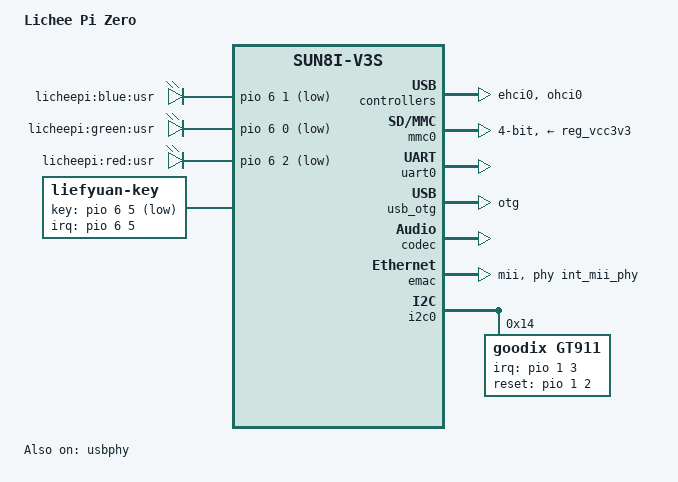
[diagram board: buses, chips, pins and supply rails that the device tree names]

/dts-v1/;
#include "sun8i-v3s.dtsi"
#include "sunxi-common-regulators.dtsi"
/ {
	model = "Lichee Pi Zero";
	compatible = "licheepi,licheepi-zero", "allwinner,sun8i-v3s";

	aliases {
		serial0 = &uart0;
                ethernet0 = &emac;
	};

	chosen {
		stdout-path = "serial0:115200n8";
	};

	leds {
		compatible = "gpio-leds";

		blue_led {
			label = "licheepi:blue:usr";
			gpios = <&pio 6 1 GPIO_ACTIVE_LOW>; /* PG1 */
		};

		green_led {
			label = "licheepi:green:usr";
			gpios = <&pio 6 0 GPIO_ACTIVE_LOW>; /* PG0 */
			default-state = "on";
		};

		red_led {
			label = "licheepi:red:usr";
			gpios = <&pio 6 2 GPIO_ACTIVE_LOW>; /* PG2 */
		};
	};

	key{
                compatible = "liefyuan-key";
                #address-cells = <1>;
                #size-cells = <0>;

		pinctrl-names = "default";
                pinctrl-0 = <&key_pins>; // 表示使用pinctrl_key这个节点的pin信息 
                /*autorepeat; *//* 按下按键自动重复*/

		/*linux,code = <KEY_BACK>; */// 这个表示的是按键值
		key-gpio= <&pio 6 5 GPIO_ACTIVE_LOW>; /* PG5 */
		interrupt-parent = <&pio>; // 父中断控制器
		interrupts = <6 5 IRQ_TYPE_EDGE_BOTH>; // PG5   中断源 上升沿和下降沿
		status = "okay";
        };


	dht11{
	     	pinctrl-1 =<&dht11_pin>;/*dht11的pin管脚属性来自dtsi文件*/
     	    compatible = "dht-11";
	     	pinctrl-names = "default";
     	    status = "okay";
     	    dht11_pin@1{
         		/*配置dht11所属管脚的io口*/
         		gpios = <&pio 6 4 GPIO_ACTIVE_HIGH>;/*管脚是接在PG4上面*/
         		label = "dht_11";
         		linux,default-trigger = "heartbeat";
         		linux,default-trigger-delay-ms = <0>;
     	    };
 	};
};

&ehci0 {
	status = "okay";
};

&mmc0 {
	broken-cd;
	bus-width = <4>;
	vmmc-supply = <&reg_vcc3v3>;
	status = "okay";
};

/*&i2c0 {
	status = "okay";

	ns2009: ns2009@48 {
		compatible = "nsiway,ns2009";
		reg = <0x48>;
	};
};*/

&ohci0 {
	status = "okay";
};

&uart0 {
	pinctrl-0 = <&uart0_pb_pins>;
	pinctrl-names = "default";
	status = "okay";
};

&usb_otg {
	dr_mode = "otg";
	status = "okay";
};

&usbphy {
	usb0_id_det-gpios = <&pio 5 6 GPIO_ACTIVE_HIGH>;
	status = "okay";
};

&codec {
	allwinner,audio-routing =
		"Headphone", "HP",
		"Headphone", "HPCOM",
		"MIC1", "Mic",
		"Mic",  "HBIAS";
	status = "okay";
};

&emac {
	phy-handle = <&int_mii_phy>;
	phy-mode = "mii";
	allwinner,leds-active-low;
	status = "okay";
};
/*
&mmc1 {
	broken-cd;
	bus-width = <4>;
	vmmc-supply = <&reg_vcc3v3>;
	status = "okay";
};
*/
/*
&lradc {
	vref-supply = <&reg_vcc3v0>;
	status = "okay";

	button-200 {
		label = "Volume Up";
		linux,code = <KEY_VOLUMEUP>;
		channel = <0>;
		voltage = <200000>;
	};

	button-400 {
		label = "Volume Down";
		linux,code = <KEY_VOLUMEDOWN>;
		channel = <0>;
		voltage = <400000>;
	};

	button-600 {
		label = "Select";
		linux,code = <KEY_SELECT>;
		channel = <0>;
		voltage = <600000>;
	};

	button-800 {
		label = "Start";
		linux,code = <KEY_OK>;
		channel = <0>;
		voltage = <800000>;
	};
};
*/
&i2c0 {
	status = "okay";
	gt911: touchscreen@14 {
        	compatible = "goodix,gt911";
        	reg = <0x14>;
        	interrupt-parent = <&pio>;
        	interrupts = <1 3 IRQ_TYPE_EDGE_FALLING>; /* (PB3) */
        	pinctrl-names = "default";
        	irq-gpios = <&pio 1 3 GPIO_ACTIVE_HIGH>; /* (PB3) */
        	reset-gpios = <&pio 1 2 GPIO_ACTIVE_HIGH>; /* RST (PB2) */
        	/* touchscreen-swapped-x-y */
	};

	/*ssd1306: ssd1306@3c {
		compatible = "oled12864,ssd1306";
		reg = <0x3c>;
	};*/
};
